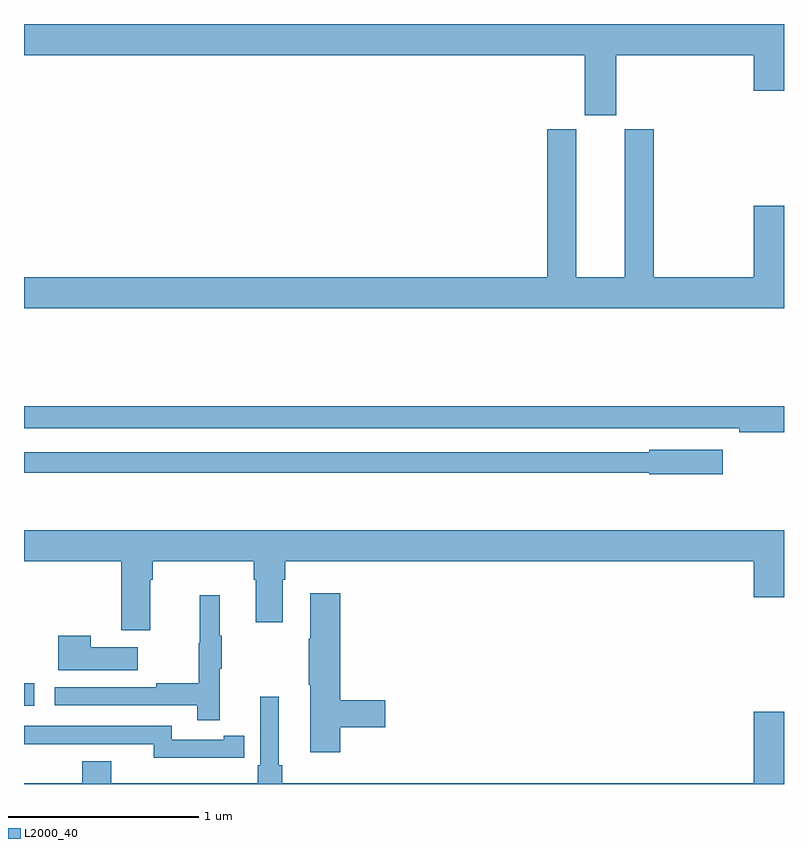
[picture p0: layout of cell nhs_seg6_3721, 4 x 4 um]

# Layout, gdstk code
import gdstk
lib = gdstk.Library(unit=1e-6, precision=1e-09)
def R(c, l, rs):  # rectangles x0, y0, x1, y1
    for r in rs: c.add(gdstk.rectangle(r[:2], r[2:], *l))
def P(c, l, *ps):  # polygons
    for p in ps: c.add(gdstk.Polygon(p, *l))
L2000_40 = (2000, 40)

nhs_seg6_3721 = lib.new_cell('nhs_seg6_3721')
R(nhs_seg6_3721, L2000_40, [(329,943.911,329.053,944.031)])
P(nhs_seg6_3721, L2000_40, [(329,947.336),(331.952,947.336),(331.952,947.019),(332.116,947.019),(332.116,947.336),(332.84,947.336),(332.84,947.148),(333,947.148),(333,947.5),(329,947.5)],
  [(333,946.543),(332.84,946.543),(332.84,946.168),(332.315,946.168),(332.315,946.947),(332.162,946.947),(332.162,946.168),(331.906,946.168),(331.906,946.947),(331.754,946.947),(331.754,946.168),(329,946.168),(329,946.004),(333,946.004)],
  [(333,945.488),(329,945.488),(329,945.372),(332.764,945.372),(332.764,945.352),(333,945.352)],
  [(332.677,945.259),(332.292,945.259),(332.292,945.246),(329,945.246),(329,945.138),(332.292,945.138),(332.292,945.13),(332.677,945.13)],
  [(329.665,944.576),(329.678,944.576),(329.678,944.672),(330.209,944.672),(330.209,944.576),(330.221,944.576),(330.221,944.352),(330.361,944.352),(330.361,944.576),(330.374,944.576),(330.374,944.672),(332.84,944.672),(332.84,944.484),(333,944.484),(333,944.836),(329,944.836),(329,944.672),(329.513,944.672),(329.513,944.31),(329.665,944.31)],
  [(330.665,943.798),(330.901,943.798),(330.901,943.94),(330.665,943.94),(330.665,944.503),(330.506,944.503),(330.506,944.264),(330.499,944.264),(330.499,944.023),(330.506,944.023),(330.506,943.668),(330.665,943.668)],
  [(330.029,944.107),(330.04,944.107),(330.04,944.281),(330.029,944.281),(330.029,944.494),(329.926,944.494),(329.926,944.244),(329.919,944.244),(329.919,944.03),(329.695,944.03),(329.695,944.01),(329.163,944.01),(329.163,943.914),(329.911,943.914),(329.911,943.836),(330.029,943.836)],
  [(329.599,944.221),(329.351,944.221),(329.351,944.281),(329.18,944.281),(329.18,944.099),(329.599,944.099)],
  [(333,943.879),(332.84,943.879),(332.84,943.504),(330.359,943.504),(330.359,943.6),(330.34,943.6),(330.34,943.96),(330.243,943.96),(330.243,943.6),(330.23,943.6),(330.23,943.504),(329.458,943.504),(329.458,943.621),(329.306,943.621),(329.306,943.504),(329,943.504),(329,943.5),(333,943.5)],
  [(330.05,943.638),(330.158,943.638),(330.158,943.754),(330.05,943.754),(330.05,943.734),(329.778,943.734),(329.778,943.806),(329,943.806),(329,943.709),(329.222,943.709),(329.222,943.71),(329.682,943.71),(329.682,943.637),(330.05,943.637)])

lib.write_gds('nhs_seg6_3721.gds')
